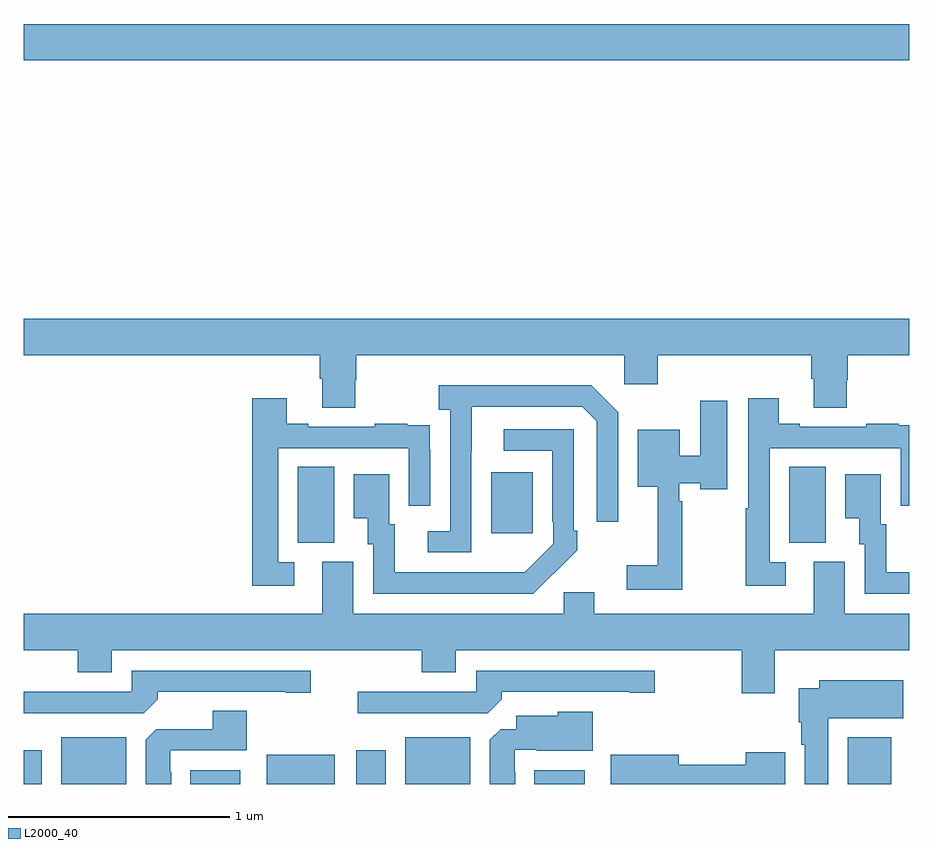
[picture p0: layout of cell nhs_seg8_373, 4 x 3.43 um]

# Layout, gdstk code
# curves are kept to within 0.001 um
import gdstk
lib = gdstk.Library(unit=1e-6, precision=1e-09)
def R(c, l, rs):  # rectangles x0, y0, x1, y1
    for r in rs: c.add(gdstk.rectangle(r[:2], r[2:], *l))
def P(c, l, *ps):  # polygons
    for p in ps: c.add(gdstk.Polygon(p, *l))
L2000_40 = (2000, 40)

nhs_seg8_373 = lib.new_cell('nhs_seg8_373')
R(nhs_seg8_373, L2000_40, [(135,1111.9,135.082,1112.053), (135.17,1111.9,135.463,1112.11), (135.752,1111.9,135.979,1111.963), (136.098,1111.9,136.405,1112.032), (136.502,1111.9,136.636,1112.053), (136.724,1111.9,137.017,1112.11), (137.306,1111.9,137.533,1111.963), (138.722,1111.9,138.919,1112.11), (136.238,1112.989,136.402,1113.332), (138.458,1112.989,138.622,1113.332), (137.111,1113.033,137.299,1113.307), (135,1115.168,139,1115.332)])
P(nhs_seg8_373, L2000_40, [(136.497,1113.723),(136.502,1113.723),(136.502,1113.836),(137.712,1113.836),(137.712,1113.705),(137.864,1113.705),(137.864,1113.836),(138.557,1113.836),(138.557,1113.73),(138.569,1113.73),(138.569,1113.598),(138.717,1113.598),(138.717,1113.723),(138.722,1113.723),(138.722,1113.836),(139,1113.836),(139,1114),(135,1114),(135,1113.836),(136.337,1113.836),(136.337,1113.73),(136.349,1113.73),(136.349,1113.598),(136.497,1113.598)],
  [(137.022,1113.403),(137.023,1113.603),(137.523,1113.603),(137.589,1113.537),(137.589,1113.084),(137.685,1113.084),(137.685,1113.579),(137.564,1113.7),(136.875,1113.7),(136.875,1113.59),(136.926,1113.59),(136.926,1113.042),(136.824,1113.042),(136.824,1112.946),(137.022,1112.946)],
  [(138.442,1112.901),(138.369,1112.901),(138.369,1113.417),(138.96,1113.417),(138.96,1113.156),(139,1113.156),(139,1113.519),(138.953,1113.519),(138.953,1113.526),(138.805,1113.526),(138.805,1113.513),(138.505,1113.513),(138.505,1113.526),(138.409,1113.526),(138.409,1113.643),(138.273,1113.643),(138.273,1113.146),(138.261,1113.146),(138.261,1112.796),(138.442,1112.796)],
  [(136.222,1112.901),(136.149,1112.901),(136.149,1113.417),(136.74,1113.417),(136.74,1113.156),(136.836,1113.156),(136.836,1113.41),(136.835,1113.41),(136.835,1113.519),(136.733,1113.519),(136.733,1113.526),(136.585,1113.526),(136.585,1113.513),(136.285,1113.513),(136.285,1113.526),(136.189,1113.526),(136.189,1113.643),(136.033,1113.643),(136.033,1112.796),(136.222,1112.796)],
  [(137.974,1113.176),(137.961,1113.176),(137.961,1113.257),(138.056,1113.257),(138.056,1113.23),(138.178,1113.23),(138.178,1113.631),(138.056,1113.631),(138.056,1113.382),(137.962,1113.382),(137.962,1113.499),(137.774,1113.499),(137.774,1113.242),(137.864,1113.242),(137.864,1112.887),(137.724,1112.887),(137.724,1112.778),(137.974,1112.778)],
  [(137.393,1112.851),(137.394,1112.85),(137.499,1112.955),(137.499,1113.043),(137.484,1113.043),(137.484,1113.501),(137.169,1113.501),(137.169,1113.405),(137.388,1113.405),(137.388,1113.085),(137.391,1113.085),(137.391,1112.985),(137.263,1112.857),(136.675,1112.856),(136.675,1113.072),(136.651,1113.072),(136.651,1113.298),(136.49,1113.298),(136.49,1113.101),(136.553,1113.101),(136.553,1112.982),(136.578,1112.982),(136.578,1112.76),(137.302,1112.76)],
  [(139,1112.856),(138.895,1112.856),(138.895,1113.072),(138.871,1113.072),(138.871,1113.298),(138.71,1113.298),(138.71,1113.101),(138.773,1113.101),(138.773,1112.982),(138.798,1112.982),(138.798,1112.76),(139,1112.76)],
  [(138.391,1112.504),(139,1112.504),(139,1112.668),(138.709,1112.668),(138.709,1112.904),(138.569,1112.904),(138.569,1112.668),(137.578,1112.668),(137.578,1112.766),(137.439,1112.766),(137.439,1112.668),(136.489,1112.668),(136.489,1112.904),(136.349,1112.904),(136.349,1112.668),(135,1112.668),(135,1112.504),(135.245,1112.504),(135.245,1112.405),(135.397,1112.405),(135.397,1112.504),(136.799,1112.504),(136.799,1112.405),(136.951,1112.405),(136.951,1112.504),(138.244,1112.504),(138.244,1112.31),(138.391,1112.31)],
  [(137.159,1112.282),(137.159,1112.316),(137.738,1112.316),(137.738,1112.311),(137.851,1112.311),(137.851,1112.412),(137.043,1112.412),(137.043,1112.316),(136.509,1112.316),(136.509,1112.22),(137.097,1112.22)],
  [(135.605,1112.282),(135.605,1112.316),(136.184,1112.316),(136.184,1112.311),(136.297,1112.311),(136.297,1112.412),(135.489,1112.412),(135.489,1112.316),(135,1112.316),(135,1112.22),(135.543,1112.22)],
  [(138.634,1112.198),(138.973,1112.198),(138.973,1112.368),(138.593,1112.368),(138.593,1112.332),(138.5,1112.332),(138.5,1112.178),(138.512,1112.178),(138.512,1112.078),(138.527,1112.078),(138.527,1111.9),(138.634,1111.9)],
  [(135.667,1111.955),(135.663,1111.955),(135.663,1112.052),(136.007,1112.052),(136.007,1112.231),(135.854,1112.231),(135.854,1112.148),(135.6,1112.148),(135.551,1112.099),(135.551,1111.9),(135.667,1111.9)],
  [(137.221,1111.955),(137.217,1111.955),(137.217,1112.055),(137.317,1112.055),(137.317,1112.051),(137.569,1112.051),(137.569,1112.227),(137.412,1112.227),(137.412,1112.209),(137.225,1112.209),(137.225,1112.148),(137.154,1112.148),(137.105,1112.099),(137.105,1111.9),(137.221,1111.9)],
  [(138.439,1112.044),(138.26,1112.044),(138.26,1111.988),(137.959,1111.988),(137.959,1112.032),(137.652,1112.032),(137.652,1111.9),(138.439,1111.9)])

lib.write_gds('nhs_seg8_373.gds')
